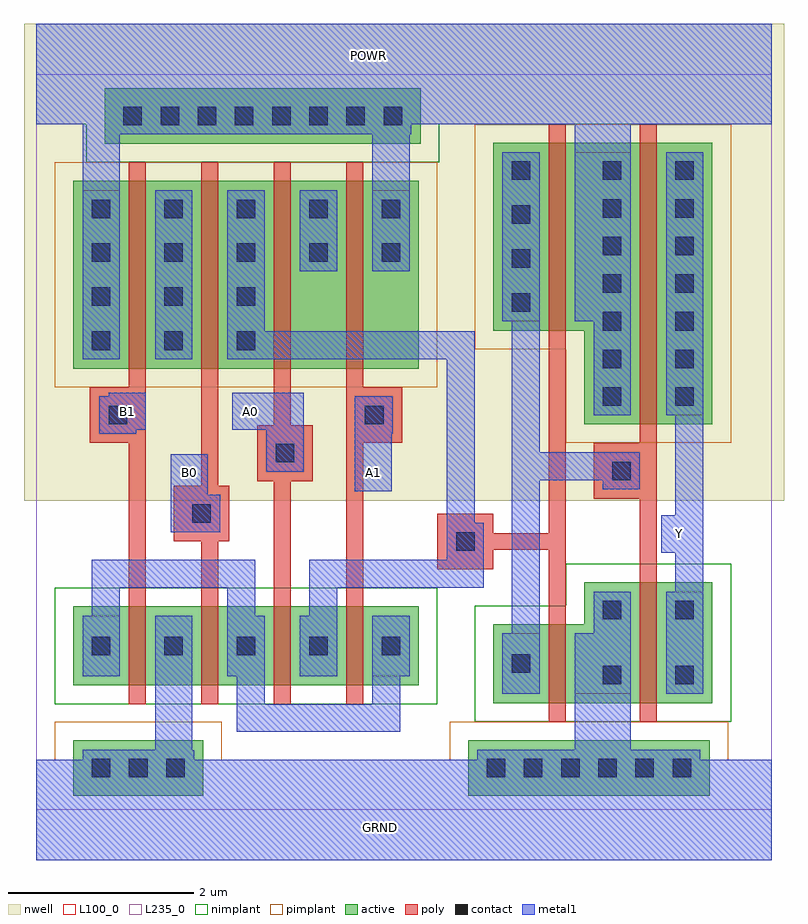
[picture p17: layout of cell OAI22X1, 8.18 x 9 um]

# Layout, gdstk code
import gdstk
lib = gdstk.Library(unit=1e-6, precision=1e-09)
def R(c, l, rs):  # rectangles x0, y0, x1, y1
    for r in rs: c.add(gdstk.rectangle(r[:2], r[2:], *l))
def A(c, l, x, y, w, h, nx, ny, dx, dy):  # array of equal rectangles
    R(c, l, [(x+i*dx, y+j*dy, x+i*dx+w, y+j*dy+h) for i in range(nx) for j in range(ny)])
def P(c, l, *ps):  # polygons
    for p in ps: c.add(gdstk.Polygon(p, *l))
active = (1, 0)
nwell = (2, 0)
poly = (3, 0)
nimplant = (4, 0)
pimplant = (5, 0)
contact = (6, 0)
metal1 = (7, 0)
L100_0 = (100, 0)
L235_0 = (235, 0)

oai22x1 = lib.new_cell('OAI22X1')
A(oai22x1, active, 0.4, 1.34, 0.6, 0.85, 5, 1, 0.78, 0)
A(oai22x1, active, 1, 1.34, 0.18, 0.85, 4, 1, 0.78, 0)
A(oai22x1, active, 0.4, 4.75, 0.6, 2.02, 5, 1, 0.78, 0)
A(oai22x1, active, 1, 4.75, 0.18, 2.02, 4, 1, 0.78, 0)
R(oai22x1, active, [(0.4,0.15,1.8,0.75), (4.65,0.15,7.25,0.75), (4.92,1.15,5.52,2), (5.52,1.15,5.7,2), (6.5,1.15,6.68,2.45), (6.68,1.15,7.28,2.45), (6.5,4.15,6.68,7.18), (6.68,4.15,7.28,7.18), (4.92,5.16,5.52,7.18), (5.52,5.16,5.7,7.18), (0.74,7.17,4.14,7.77)])
P(oai22x1, active, [(6.5,2.45),(5.9,2.45),(5.9,2),(5.7,2),(5.7,1.15),(6.5,1.15)],
  [(6.5,7.18),(5.7,7.18),(5.7,5.16),(5.9,5.16),(5.9,4.15),(6.5,4.15)])
R(oai22x1, nwell, [(-0.13,3.33,8.05,8.46)])
A(oai22x1, poly, 6.5, 0.95, 0.18, 0.2, 1, 3, 0, 1.5)
A(oai22x1, poly, 1, 1.14, 0.18, 0.2, 4, 2, 0.78, 1.05)
A(oai22x1, poly, 1, 1.14, 0.18, 1.25, 4, 1, 0.78, 0)
A(oai22x1, poly, 1, 4.55, 0.18, 2.42, 4, 1, 0.78, 0)
A(oai22x1, poly, 1, 4.55, 0.18, 0.2, 4, 2, 0.78, 2.22)
R(oai22x1, poly, [(5.52,0.95,5.7,1.15), (5.52,0.95,5.7,2.2), (6.5,0.95,6.68,2.65), (5.52,2,5.7,2.2), (6,3.35,6.6,3.95), (6.5,3.95,6.68,7.38), (5.52,4.96,5.7,7.38), (5.52,4.96,5.7,5.16), (5.52,7.18,5.7,7.38), (6.5,7.18,6.68,7.38)])
P(oai22x1, poly, [(5.7,4.97),(5.52,4.97),(5.52,2.98),(4.92,2.98),(4.92,3.19),(4.32,3.19),(4.32,2.59),(4.92,2.59),(4.92,2.8),(5.52,2.8),(5.52,1.54),(5.7,1.54)],
  [(2.08,3.49),(1.96,3.49),(1.96,4.55),(1.78,4.55),(1.78,3.49),(1.48,3.49),(1.48,2.89),(1.78,2.89),(1.78,2.39),(1.96,2.39),(1.96,2.89),(2.08,2.89)],
  [(3.94,4.55),(3.34,4.55),(3.34,2.35),(3.52,2.35),(3.52,3.95),(3.94,3.95)],
  [(2.98,4.14),(2.74,4.14),(2.74,4.56),(2.56,4.56),(2.56,4.14),(2.38,4.14),(2.38,3.54),(2.56,3.54),(2.56,2.39),(2.74,2.39),(2.74,3.54),(2.98,3.54)],
  [(1.18,4.55),(0.58,4.55),(0.58,3.95),(1,3.95),(1,2.39),(1.18,2.39)])
R(oai22x1, nimplant, [(0.2,1.14,4.32,2.39)])
P(oai22x1, nimplant, [(7.48,2.65),(5.7,2.65),(5.7,2.2),(4.72,2.2),(4.72,0.95),(7.48,0.95)],
  [(7.92,8.46),(0,8.46),(0,7.38),(0.54,7.38),(0.54,6.97),(4.34,6.97),(4.34,7.38),(7.92,7.38)])
R(oai22x1, pimplant, [(0.2,4.55,4.32,6.97)])
P(oai22x1, pimplant, [(7.48,7.38),(4.72,7.38),(4.72,4.96),(5.7,4.96),(5.7,3.95),(7.48,3.95)],
  [(7.92,0.54),(7.45,0.54),(7.45,0.95),(4.45,0.95),(4.45,0.54),(2,0.54),(2,0.95),(0.2,0.95),(0.2,0.54),(0,0.54),(0,-0.54),(7.92,-0.54)])
A(oai22x1, contact, 0.6, 0.35, 0.2, 0.2, 3, 1, 0.4, 0)
A(oai22x1, contact, 4.85, 0.35, 0.2, 0.2, 6, 1, 0.4, 0)
A(oai22x1, contact, 0.6, 1.665, 0.2, 0.2, 5, 2, 0.78, 4.235)
A(oai22x1, contact, 6.1, 4.35, 0.2, 0.2, 1, 7, 0, 0.405)
A(oai22x1, contact, 6.88, 4.35, 0.2, 0.2, 1, 7, 0, 0.405)
A(oai22x1, contact, 0.6, 4.95, 0.2, 0.2, 3, 2, 0.78, 0.475)
A(oai22x1, contact, 5.12, 5.36, 0.2, 0.2, 1, 3, 0, 0.475)
A(oai22x1, contact, 0.6, 6.37, 0.2, 0.2, 5, 1, 0.78, 0)
A(oai22x1, contact, 0.94, 7.37, 0.2, 0.2, 8, 1, 0.4, 0)
R(oai22x1, contact, [(6.1,1.35,6.3,1.55), (6.88,1.35,7.08,1.55), (5.12,1.475,5.32,1.675), (6.1,2.05,6.3,2.25), (6.88,2.05,7.08,2.25), (4.52,2.79,4.72,2.99), (1.68,3.09,1.88,3.29), (6.2,3.55,6.4,3.75), (2.58,3.74,2.78,3.94), (0.78,4.15,0.98,4.35), (3.54,4.15,3.74,4.35), (5.12,6.78,5.32,6.98)])
R(oai22x1, metal1, [(0,-0.54,7.92,0.54), (5.12,1.89,5.42,5.26), (6.88,2.33,7.18,4.25), (6.73,2.77,7.08,3.17), (6.78,2.82,7.08,3.12), (6.1,3.45,6.5,3.85), (1.5,3.48,1.8,3.78), (3.48,3.48,3.78,3.78), (0.68,4.05,1.08,4.45), (0.78,4.09,1.18,4.49), (0.83,4.14,1.13,4.44), (2.16,4.14,2.46,4.44), (5.8,7.08,6.4,7.38), (0,7.38,7.92,8.46)])
P(oai22x1, metal1, [(6.4,7.08),(5.8,7.08),(5.8,5.26),(6,5.26),(6,4.25),(6.4,4.25)],
  [(3.84,4.45),(3.43,4.45),(3.43,3.43),(3.83,3.43),(3.83,4.05),(3.84,4.05)],
  [(7.15,0.65),(6.4,0.65),(6.4,1.25),(5.8,1.25),(5.8,0.65),(4.75,0.65),(4.75,0.25),(7.15,0.25)],
  [(4.82,3.09),(4.72,3.09),(4.72,5.15),(2.45,5.15),(2.45,4.85),(4.42,4.85),(4.42,2.69),(2.94,2.69),(2.94,2.09),(3.24,2.09),(3.24,2.39),(4.82,2.39)],
  [(6.4,2.35),(6,2.35),(6,1.9),(5.8,1.9),(5.8,1.25),(6.4,1.25)],
  [(1.98,3.39),(1.85,3.39),(1.85,3.83),(1.45,3.83),(1.45,2.99),(1.98,2.99)],
  [(2.88,4.49),(2.11,4.49),(2.11,4.09),(2.48,4.09),(2.48,3.64),(2.88,3.64)],
  [(1.68,1.44),(1.28,1.44),(1.28,0.65),(0.5,0.65),(0.5,0.25),(1.7,0.25),(1.7,0.64),(1.68,0.64)],
  [(4.04,7.67),(0.84,7.67),(0.84,7.38),(0.5,7.38),(0.5,6.67),(0.9,6.67),(0.9,7.27),(3.62,7.27),(3.62,6.67),(4.02,6.67),(4.02,7.27),(4.04,7.27)])
R(oai22x1, L100_0, [(5.02,1.25,5.42,1.9), (6.78,1.25,7.18,2.35), (0.5,1.44,0.9,2.09), (3.62,1.44,4.02,2.09), (6.78,4.25,7.18,7.08), (0.5,4.85,0.9,6.67), (5.02,5.26,5.42,7.08), (3.62,5.8,4.02,6.67)])
P(oai22x1, L100_0, [(6.4,7.08),(5.8,7.08),(5.8,5.26),(6,5.26),(6,4.25),(6.4,4.25)],
  [(6.4,2.35),(6,2.35),(6,1.9),(5.8,1.9),(5.8,1.25),(6.4,1.25)])
R(oai22x1, L235_0, [(0,0,7.92,7.92)])
oai22x1.add(gdstk.FlexPath([(6.59,3.96),(6.59,2.64)], 0.18, ends="flush", simple_path=True, layer=3, datatype=0))  # poly
oai22x1.add(gdstk.FlexPath([(5.22,5.26),(5.22,7.08)], 0.4, ends="flush", simple_path=True, layer=7, datatype=0))  # metal1
oai22x1.add(gdstk.FlexPath([(5.42,3.7),(6.18,3.7)], 0.3, ends="flush", simple_path=True, layer=7, datatype=0))  # metal1
oai22x1.add(gdstk.FlexPath([(5.22,1.25),(5.22,1.9)], 0.4, ends="flush", simple_path=True, layer=7, datatype=0))  # metal1
oai22x1.add(gdstk.FlexPath([(6.98,1.25),(6.98,2.35)], 0.4, ends="flush", simple_path=True, layer=7, datatype=0))  # metal1
oai22x1.add(gdstk.FlexPath([(0.7,1.44),(0.7,2.09)], 0.4, ends="flush", simple_path=True, layer=7, datatype=0))  # metal1
oai22x1.add(gdstk.FlexPath([(1.48,1.44),(1.48,2.09)], 0.4, ends="flush", simple_path=True, layer=7, datatype=0))  # metal1
oai22x1.add(gdstk.FlexPath([(2.26,1.44),(2.26,2.09)], 0.4, ends="flush", simple_path=True, layer=7, datatype=0))  # metal1
oai22x1.add(gdstk.FlexPath([(3.04,1.44),(3.04,2.09)], 0.4, ends="flush", simple_path=True, layer=7, datatype=0))  # metal1
oai22x1.add(gdstk.FlexPath([(3.82,1.44),(3.82,2.09)], 0.4, ends="flush", simple_path=True, layer=7, datatype=0))  # metal1
oai22x1.add(gdstk.FlexPath([(0.7,4.85),(0.7,6.67)], 0.4, ends="flush", simple_path=True, layer=7, datatype=0))  # metal1
oai22x1.add(gdstk.FlexPath([(1.48,4.85),(1.48,6.67)], 0.4, ends="flush", simple_path=True, layer=7, datatype=0))  # metal1
oai22x1.add(gdstk.FlexPath([(2.26,4.85),(2.26,6.67)], 0.4, ends="flush", simple_path=True, layer=7, datatype=0))  # metal1
oai22x1.add(gdstk.FlexPath([(3.04,5.8),(3.04,6.67)], 0.4, ends="flush", simple_path=True, layer=7, datatype=0))  # metal1
oai22x1.add(gdstk.FlexPath([(3.82,5.8),(3.82,6.67)], 0.4, ends="flush", simple_path=True, layer=7, datatype=0))  # metal1
oai22x1.add(gdstk.FlexPath([(0.75,2.09),(0.75,2.54),(2.21,2.54),(2.21,2.09)], 0.3, ends="flush", simple_path=True, layer=7, datatype=0))  # metal1
oai22x1.add(gdstk.FlexPath([(2.31,1.44),(2.31,0.99),(3.77,0.99),(3.77,1.44)], 0.3, ends="flush", simple_path=True, layer=7, datatype=0))  # metal1
oai22x1.add(gdstk.FlexPath([(6.98,4.25),(6.98,7.08)], 0.4, ends="flush", simple_path=True, layer=7, datatype=0))  # metal1
oai22x1.add(gdstk.Label('A0', (2.31,4.29), layer=230, texttype=0))
oai22x1.add(gdstk.Label('POWR', (3.58,8.12), layer=230, texttype=0))
oai22x1.add(gdstk.Label('GRND', (3.71,-0.19), layer=230, texttype=0))
oai22x1.add(gdstk.Label('B0', (1.65,3.63), layer=230, texttype=0))
oai22x1.add(gdstk.Label('A1', (3.63,3.63), layer=230, texttype=0))
oai22x1.add(gdstk.Label('Y', (6.93,2.97), layer=230, texttype=0))
oai22x1.add(gdstk.Label('B1', (0.98,4.29), layer=230, texttype=0))

lib.write_gds('OAI22X1.gds')
